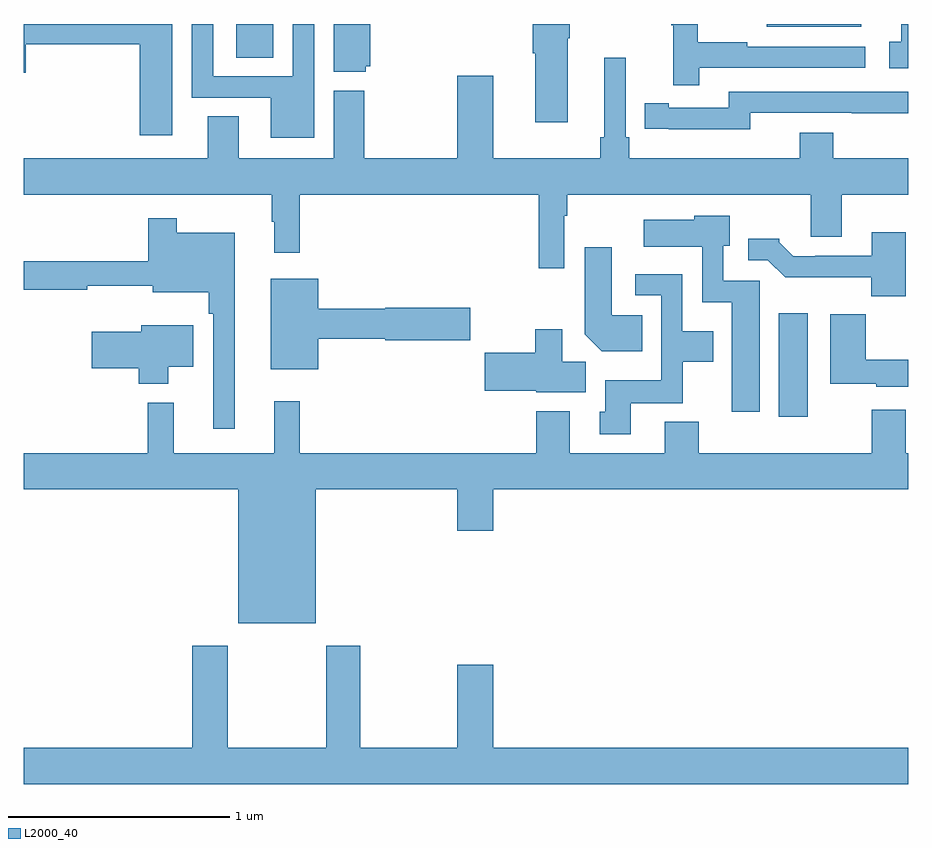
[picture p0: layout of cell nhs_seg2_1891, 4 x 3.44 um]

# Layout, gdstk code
import gdstk
lib = gdstk.Library(unit=1e-6, precision=1e-09)
def R(c, l, rs):  # rectangles x0, y0, x1, y1
    for r in rs: c.add(gdstk.rectangle(r[:2], r[2:], *l))
def P(c, l, *ps):  # polygons
    for p in ps: c.add(gdstk.Polygon(p, *l))
L2000_40 = (2000, 40)

nhs_seg2_1891 = lib.new_cell('nhs_seg2_1891')
R(nhs_seg2_1891, L2000_40, [(214.415,588.024,214.546,588.493), (211.961,589.648,212.128,589.8), (214.359,589.787,214.786,589.8)])
P(nhs_seg2_1891, L2000_40, [(212.313,589.8),(212.217,589.8),(212.217,589.563),(211.857,589.563),(211.857,589.8),(211.761,589.8),(211.761,589.467),(212.117,589.467),(212.117,589.286),(212.313,589.286)],
  [(211.672,589.8),(211,589.8),(211,589.579),(211.01,589.579),(211.01,589.708),(211.526,589.708),(211.526,589.296),(211.672,589.296)],
  [(212.547,589.608),(212.566,589.608),(212.566,589.8),(212.402,589.8),(212.402,589.583),(212.547,589.583)],
  [(213.46,589.735),(213.468,589.735),(213.468,589.8),(213.302,589.8),(213.302,589.668),(213.314,589.668),(213.314,589.356),(213.46,589.356)],
  [(215,589.8),(214.967,589.8),(214.967,589.719),(214.914,589.719),(214.914,589.599),(215,589.599)],
  [(214.055,589.602),(214.804,589.602),(214.804,589.698),(214.271,589.698),(214.271,589.718),(214.048,589.718),(214.048,589.8),(213.927,589.8),(213.927,589.795),(213.938,589.795),(213.938,589.524),(214.055,589.524)],
  [(214.284,589.398),(214.744,589.398),(214.744,589.397),(215,589.397),(215,589.494),(214.188,589.494),(214.188,589.422),(213.916,589.422),(213.916,589.442),(213.808,589.442),(213.808,589.326),(213.916,589.326),(213.916,589.325),(214.284,589.325)],
  [(214.508,589.309),(214.508,589.192),(213.737,589.192),(213.737,589.288),(213.723,589.288),(213.723,589.648),(213.626,589.648),(213.626,589.288),(213.607,589.288),(213.607,589.192),(213.124,589.192),(213.124,589.567),(212.96,589.567),(212.96,589.192),(212.541,589.192),(212.541,589.498),(212.402,589.498),(212.402,589.192),(211.972,589.192),(211.972,589.382),(211.832,589.382),(211.832,589.192),(211,589.192),(211,589.028),(212.121,589.028),(212.121,588.905),(212.132,588.905),(212.132,588.765),(212.249,588.765),(212.249,589.028),(213.328,589.028),(213.328,588.696),(213.444,588.696),(213.444,588.932),(213.457,588.932),(213.457,589.028),(214.559,589.028),(214.559,588.838),(214.699,588.838),(214.699,589.028),(215,589.028),(215,589.192),(214.661,589.192),(214.661,589.309)],
  [(214.327,588.639),(214.164,588.639),(214.164,588.798),(214.192,588.798),(214.192,588.934),(214.032,588.934),(214.032,588.916),(213.804,588.916),(213.804,588.794),(214.068,588.794),(214.068,588.542),(214.202,588.542),(214.202,588.048),(214.327,588.048)],
  [(211.954,588.856),(211.693,588.856),(211.693,588.922),(211.564,588.922),(211.564,588.727),(211,588.727),(211,588.598),(211.287,588.598),(211.287,588.617),(211.583,588.617),(211.583,588.587),(211.837,588.587),(211.837,588.491),(211.857,588.491),(211.857,587.97),(211.954,587.97)],
  [(214.988,588.859),(214.835,588.859),(214.835,588.753),(214.579,588.753),(214.579,588.75),(214.48,588.75),(214.416,588.814),(214.416,588.829),(214.277,588.829),(214.277,588.732),(214.365,588.732),(214.444,588.654),(214.833,588.654),(214.833,588.569),(214.988,588.569)],
  [(213.797,588.484),(213.658,588.484),(213.658,588.79),(213.536,588.79),(213.536,588.398),(213.614,588.32),(213.797,588.32)],
  [(213.745,588.086),(213.981,588.086),(213.981,588.272),(214.117,588.272),(214.117,588.412),(213.978,588.412),(213.978,588.669),(213.765,588.669),(213.765,588.573),(213.882,588.573),(213.882,588.19),(213.629,588.19),(213.629,588.048),(213.605,588.048),(213.605,587.946),(213.745,587.946)],
  [(212.332,588.376),(212.634,588.376),(212.634,588.371),(213.019,588.371),(213.019,588.518),(212.634,588.518),(212.634,588.512),(212.332,588.512),(212.332,588.649),(212.117,588.649),(212.117,588.239),(212.332,588.239)],
  [(215,588.283),(214.808,588.283),(214.808,588.487),(214.646,588.487),(214.646,588.173),(214.854,588.173),(214.854,588.161),(215,588.161)],
  [(211.654,588.251),(211.768,588.251),(211.768,588.439),(211.532,588.439),(211.532,588.409),(211.308,588.409),(211.308,588.244),(211.52,588.244),(211.52,588.173),(211.654,588.173)],
  [(213.541,588.272),(213.436,588.272),(213.436,588.421),(213.314,588.421),(213.314,588.314),(213.084,588.314),(213.084,588.143),(213.318,588.143),(213.318,588.134),(213.541,588.134)],
  [(212.32,587.696),(212.96,587.696),(212.96,587.508),(213.124,587.508),(213.124,587.696),(215,587.696),(215,587.86),(214.988,587.86),(214.988,588.055),(214.835,588.055),(214.835,587.86),(214.052,587.86),(214.052,588.001),(213.899,588.001),(213.899,587.86),(213.469,587.86),(213.469,588.049),(213.317,588.049),(213.317,587.86),(212.249,587.86),(212.249,588.094),(212.132,588.094),(212.132,587.86),(211.679,587.86),(211.679,588.088),(211.561,588.088),(211.561,587.86),(211,587.86),(211,587.696),(211.97,587.696),(211.97,587.09),(212.32,587.09)],
  [(215,586.528),(213.124,586.528),(213.124,586.903),(212.96,586.903),(212.96,586.528),(212.523,586.528),(212.523,586.99),(212.368,586.99),(212.368,586.528),(211.923,586.528),(211.923,586.99),(211.763,586.99),(211.763,586.528),(211,586.528),(211,586.364),(215,586.364)])

lib.write_gds('nhs_seg2_1891.gds')
